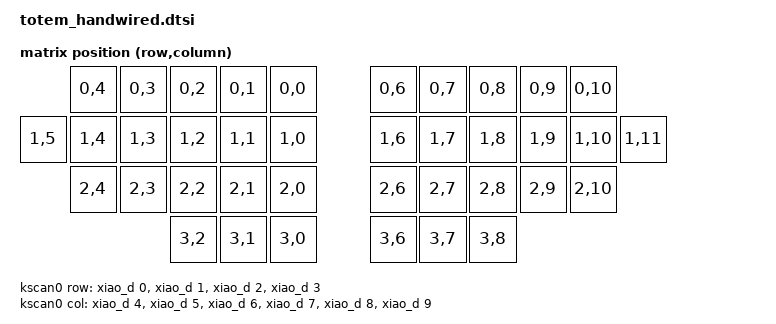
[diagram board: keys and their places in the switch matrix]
#include <dt-bindings/zmk/matrix_transform.h>

/ {
    chosen {
        zmk,kscan = &kscan0;
        zmk,matrix_transform = &default_transform;
    };

    default_transform: keymap_transform_0 {
        compatible = "zmk,matrix-transform";
        columns = <12>; // 6 columns per side
        rows = <4>;
        
        // Maps the matrix (Row, Col) to the physical keys on the board
        map = <
                    RC(0,4) RC(0,3) RC(0,2) RC(0,1) RC(0,0)         RC(0,6) RC(0,7) RC(0,8) RC(0,9) RC(0,10)
            RC(1,5) RC(1,4) RC(1,3) RC(1,2) RC(1,1) RC(1,0)         RC(1,6) RC(1,7) RC(1,8) RC(1,9) RC(1,10) RC(1,11)
                    RC(2,4) RC(2,3) RC(2,2) RC(2,1) RC(2,0)         RC(2,6) RC(2,7) RC(2,8) RC(2,9) RC(2,10)
                                    RC(3,2) RC(3,1) RC(3,0)         RC(3,6) RC(3,7) RC(3,8)
        >;
    };

    kscan0: kscan_0 {
        compatible = "zmk,kscan-gpio-matrix";
        label = "KSCAN";
        
        // Diode cathode (black line) facing the row wire
        diode-direction = "col2row";

        // Columns: Driven HIGH sequentially
        col-gpios
            = <&xiao_d 4 GPIO_ACTIVE_HIGH> // Col 0 (Inner Index)
            , <&xiao_d 5 GPIO_ACTIVE_HIGH> // Col 1 (Index)
            , <&xiao_d 6 GPIO_ACTIVE_HIGH> // Col 2 (Middle)
            , <&xiao_d 7 GPIO_ACTIVE_HIGH> // Col 3 (Ring)
            , <&xiao_d 8 GPIO_ACTIVE_HIGH> // Col 4 (Pinky)
            , <&xiao_d 9 GPIO_ACTIVE_HIGH> // Col 5 (Outer Pinky)
            ;

        // Rows: Sensed, requires Pull-Down resistors for col2row
        row-gpios
            = <&xiao_d 0 (GPIO_ACTIVE_HIGH | GPIO_PULL_DOWN)> // Row 0 (Top)
            , <&xiao_d 1 (GPIO_ACTIVE_HIGH | GPIO_PULL_DOWN)> // Row 1 (Home)
            , <&xiao_d 2 (GPIO_ACTIVE_HIGH | GPIO_PULL_DOWN)> // Row 2 (Bottom)
            , <&xiao_d 3 (GPIO_ACTIVE_HIGH | GPIO_PULL_DOWN)> // Row 3 (Thumb cluster)
            ;
    };
};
